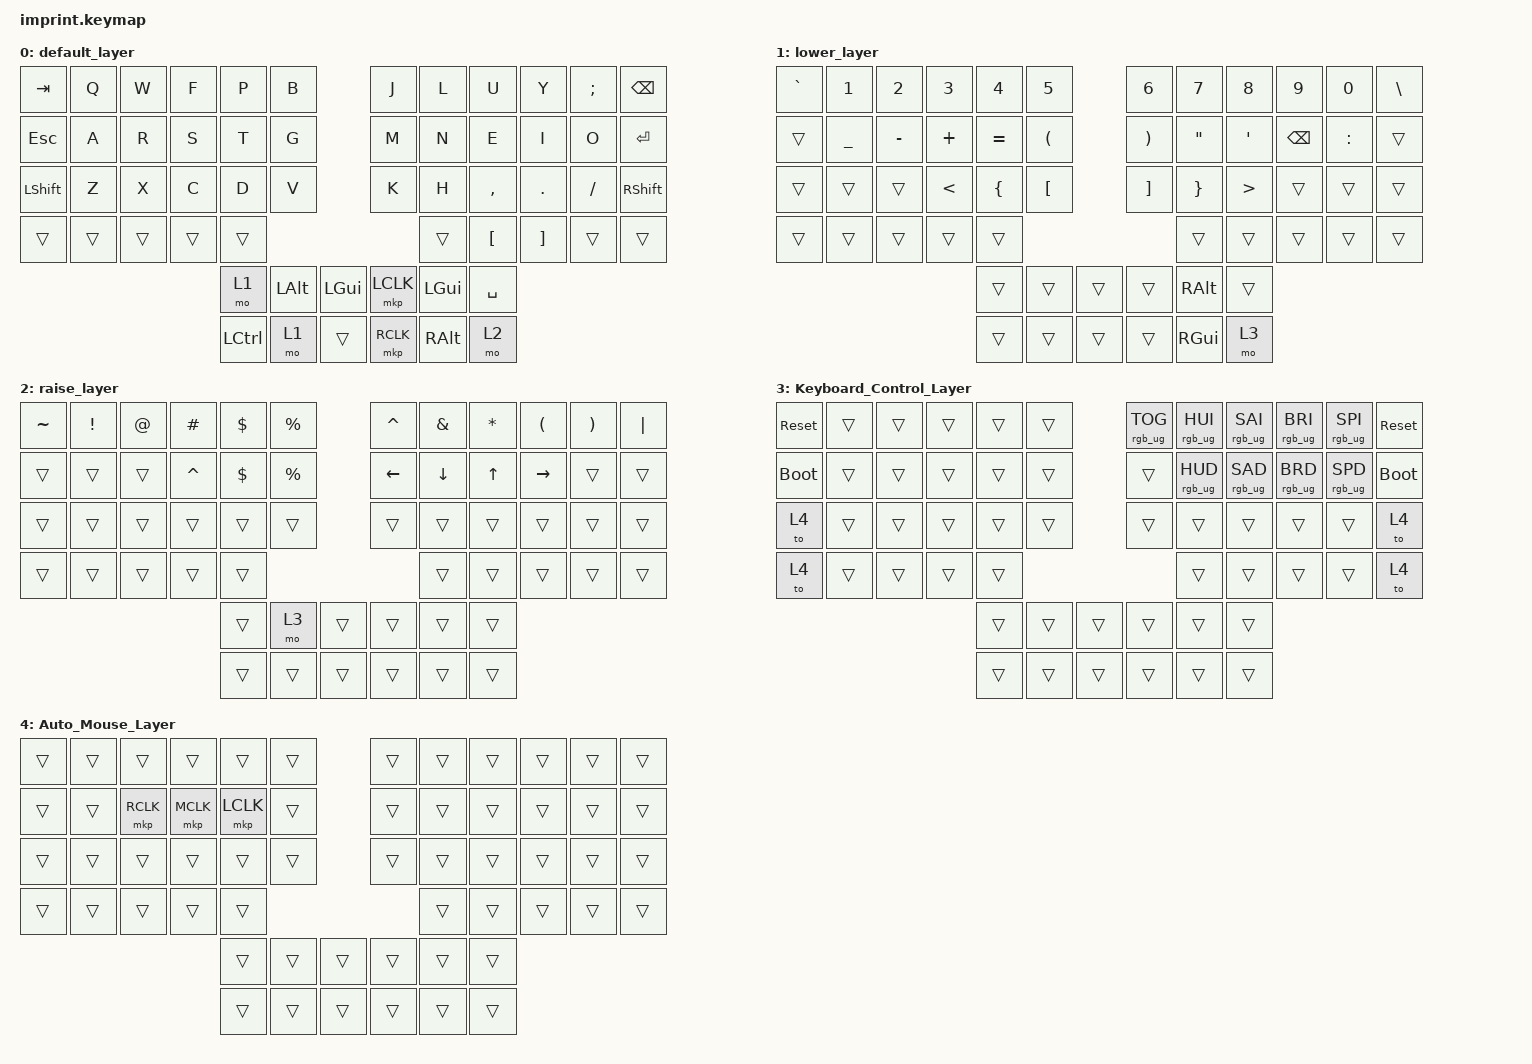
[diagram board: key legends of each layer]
#include <input/processors.dtsi>
#include <dt-bindings/zmk/input_transform.h>
#include <behaviors.dtsi>
#include <dt-bindings/zmk/bt.h>
#include <dt-bindings/zmk/keys.h>
#include <dt-bindings/zmk/pointing.h>
#include <dt-bindings/zmk/rgb.h>

/ {
    chosen { zmk,matrix-transform = &imprint_letters_only_full_bottom_row; };

    keymap {
        compatible = "zmk,keymap";

        default_layer {
            bindings = <
&kp TAB    &kp Q   &kp W     &kp F     &kp P     &kp B               &kp J      &kp L     &kp U      &kp Y     &kp SEMI  &kp BSPC
&kp ESC    &kp A   &kp R     &kp S     &kp T     &kp G               &kp M      &kp N     &kp E      &kp I     &kp O     &kp RET
&kp LSHFT  &kp Z   &kp X     &kp C     &kp D     &kp V               &kp K      &kp H     &kp COMMA  &kp DOT   &kp FSLH  &kp RSHFT
&trans     &trans  &trans    &trans    &trans                                   &trans    &kp LBKT   &kp RBKT  &trans    &trans
                                       &mo 1  &kp LALT  &kp LGUI    &mkp LCLK   &kp LGUI  &kp SPACE
                                       &kp LCTRL  &mo 1  &trans    &mkp RCLK   &kp RALT   &mo 2
            >;
        };


        lower_layer {
            bindings = <
&kp GRAVE  &kp N1  &kp N2  &kp N3  &kp N4  &kp N5                   &kp N6  &kp N7  &kp N8  &kp N9  &kp N0  &kp BACKSLASH
&trans  &kp UNDERSCORE  &kp MINUS  &kp PLUS  &kp EQUAL              &kp LPAR  &kp RPAR  &kp DOUBLE_QUOTES  &kp SINGLE_QUOTE  &kp BACKSPACE  &kp COLON  &trans 
&trans  &trans  &trans  &kp LT  &kp LEFT_BRACE  &kp LEFT_BRACKET    &kp RIGHT_BRACKET  &kp RIGHT_BRACE  &kp GT  &trans  &trans  &trans
&trans  &trans  &trans  &trans  &trans                                               &trans  &trans  &trans &trans &trans
                            &trans  &trans  &trans    &trans  &kp RALT &trans 
                            &trans  &trans  &trans    &trans  &kp RGUI &mo 3
            >;
        };

        raise_layer {
            bindings = <
&kp TILDE  &kp EXCL  &kp AT  &kp HASH  &kp DOLLAR &kp PERCENT          &kp CARET  &kp AMPERSAND &kp STAR &kp LPAR  &kp RPAR  &kp PIPE
&trans  &trans  &trans  &kp CARET  &kp DOLLAR  &kp PERCENT             &kp LEFT  &kp DOWN  &kp UP  &kp RIGHT  &trans  &trans  
&trans  &trans  &trans  &trans  &trans  &trans                         &trans  &trans  &trans  &trans  &trans  &trans  
&trans  &trans  &trans  &trans  &trans                                         &trans &trans  &trans  &trans  &trans
                            &trans  &mo 3  &trans    &trans  &trans &trans 
                            &trans  &trans    &trans   &trans  &trans &trans
            >;
        };

        Keyboard_Control_Layer {
            bindings = <
&sys_reset   &trans        &trans        &trans        &trans        &trans                  &rgb_ug RGB_TOG  &rgb_ug RGB_HUI  &rgb_ug RGB_SAI  &rgb_ug RGB_BRI  &rgb_ug RGB_SPI  &sys_reset
&bootloader  &trans        &trans        &trans        &trans        &trans                  &trans  &rgb_ug RGB_HUD  &rgb_ug RGB_SAD  &rgb_ug RGB_BRD  &rgb_ug RGB_SPD  &bootloader
&to 4        &trans        &trans        &trans        &trans        &trans                  &trans  &trans           &trans           &trans           &trans           &to 4
&to 4        &trans        &trans        &trans        &trans                                        &trans           &trans           &trans           &trans           &to 4
                                                       &trans        &trans        &trans    &trans  &trans           &trans
                                                       &trans        &trans        &trans    &trans  &trans           &trans
            >;
        };

        Auto_Mouse_Layer {
            bindings = <
&trans  &trans  &trans     &trans     &trans     &trans            &trans  &trans  &trans  &trans  &trans  &trans
&trans  &trans  &mkp RCLK  &mkp MCLK  &mkp LCLK  &trans            &trans  &trans  &trans  &trans  &trans  &trans
&trans  &trans  &trans     &trans     &trans     &trans            &trans  &trans  &trans  &trans  &trans  &trans
&trans  &trans  &trans     &trans     &trans                               &trans  &trans  &trans  &trans  &trans
                                      &trans     &trans  &trans    &trans  &trans  &trans
                                      &trans     &trans  &trans    &trans  &trans  &trans
            >;
        };
    };
};

// right hand trackball configuration

// &trackball_peripheral_listener {
//    input-processors =
//     activate layer 3 within 500ms of the trackball moving
//     <&zip_temp_layer 3 500>;
// };

//left hand trackball configuration

&trackball_central_listener {
    input-processors =
        // multiply sensitivity by 1, divide by 3 (make it slower for scrolling),
        <&zip_xy_scaler 1 3>,
        // make this trackball output scrolling events by default instead of cursor movement,
        <&zip_xy_to_scroll_mapper>,
        // invert vertical scrolling so that the view moves in the same direction as the top of the trackball.,
        <&zip_scroll_transform INPUT_TRANSFORM_Y_INVERT>;
};
